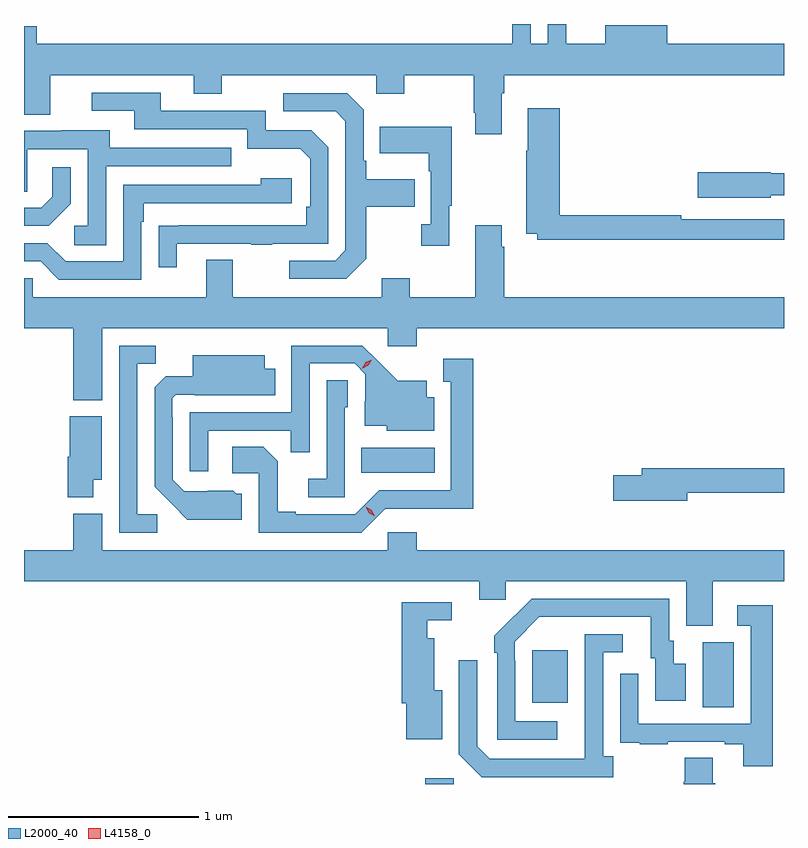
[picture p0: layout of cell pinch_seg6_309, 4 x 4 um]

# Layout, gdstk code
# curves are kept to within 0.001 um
import gdstk
lib = gdstk.Library(unit=1e-6, precision=1e-09)
def R(c, l, rs):  # rectangles x0, y0, x1, y1
    for r in rs: c.add(gdstk.rectangle(r[:2], r[2:], *l))
def P(c, l, *ps):  # polygons
    for p in ps: c.add(gdstk.Polygon(p, *l))
L2000_40 = (2000, 40)
L4158_0 = (4158, 0)

pinch_seg6_309 = lib.new_cell('pinch_seg6_309')
R(pinch_seg6_309, L2000_40, [(640.979,962.253,641.13,962.284), (642.44,962.656,642.604,963), (641.543,962.681,641.731,962.956), (640.642,963.89,641.029,964.024)])
P(pinch_seg6_309, L2000_40, [(641.383,965.888),(641.396,965.888),(641.396,965.984),(642.868,965.984),(642.868,966.148),(642.253,966.148),(642.253,966.247),(641.927,966.247),(641.927,966.148),(641.723,966.148),(641.723,966.253),(641.625,966.253),(641.625,966.148),(641.535,966.148),(641.535,966.253),(641.438,966.253),(641.438,966.148),(638.936,966.148),(638.936,966.241),(638.868,966.241),(638.868,965.776),(639.007,965.776),(639.007,965.984),(639.761,965.984),(639.761,965.885),(639.909,965.885),(639.909,965.984),(640.722,965.984),(640.722,965.885),(640.869,965.885),(640.869,965.984),(641.236,965.984),(641.236,965.785),(641.243,965.785),(641.243,965.673),(641.383,965.673)],
  [(639.673,965.097),(640.063,965.097),(640.063,965.092),(640.175,965.092),(640.175,965.097),(640.47,965.097),(640.47,965.604),(640.38,965.694),(640.14,965.694),(640.14,965.796),(639.589,965.796),(639.589,965.892),(639.225,965.892),(639.225,965.796),(639.449,965.796),(639.449,965.7),(640.044,965.7),(640.044,965.597),(640.321,965.597),(640.374,965.544),(640.374,965.29),(640.354,965.29),(640.354,965.193),(639.577,965.192),(639.577,964.974),(639.673,964.974)],
  [(640.669,965.017),(640.669,965.29),(640.925,965.29),(640.925,965.437),(640.669,965.437),(640.669,965.533),(640.656,965.533),(640.656,965.802),(640.569,965.889),(640.233,965.889),(640.233,965.793),(640.509,965.793),(640.56,965.742),(640.56,965.061),(640.506,965.007),(640.263,965.007),(640.263,964.911),(640.563,964.911)],
  [(642.868,965.226),(642.326,965.226),(642.326,965.246),(641.687,965.246),(641.687,965.809),(641.519,965.809),(641.519,965.585),(641.512,965.585),(641.512,965.15),(641.568,965.15),(641.568,965.118),(642.868,965.118)],
  [(641.107,965.297),(641.119,965.297),(641.119,965.713),(640.741,965.713),(640.741,965.573),(640.998,965.573),(640.998,965.477),(641.01,965.477),(641.01,965.198),(640.959,965.198),(640.959,965.085),(641.107,965.085)],
  [(639.3,965.505),(639.959,965.505),(639.959,965.601),(639.319,965.601),(639.319,965.695),(639.065,965.695),(639.065,965.691),(638.868,965.691),(638.868,965.371),(638.886,965.371),(638.886,965.595),(639.204,965.595),(639.204,965.19),(639.132,965.19),(639.132,965.089),(639.3,965.089)],
  [(639.114,965.306),(639.114,965.5),(639.017,965.5),(639.017,965.343),(638.96,965.286),(638.868,965.286),(638.868,965.19),(638.998,965.19)],
  [(642.798,965.352),(642.868,965.352),(642.868,965.468),(642.798,965.468),(642.798,965.474),(642.414,965.474),(642.414,965.339),(642.798,965.339)],
  [(639.486,965.213),(639.499,965.213),(639.499,965.31),(640.276,965.31),(640.276,965.44),(640.115,965.44),(640.115,965.406),(639.39,965.406),(639.39,965.004),(639.087,965.004),(638.991,965.1),(638.868,965.1),(638.868,965.004),(638.955,965.004),(639.051,964.908),(639.486,964.908)],
  [(639.28,964.652),(640.782,964.652),(640.782,964.557),(640.934,964.557),(640.934,964.652),(642.868,964.652),(642.868,964.816),(641.396,964.816),(641.396,965.081),(641.383,965.081),(641.383,965.194),(641.243,965.194),(641.243,964.816),(640.899,964.816),(640.899,964.915),(640.751,964.915),(640.751,964.816),(639.967,964.816),(639.967,965.011),(639.827,965.011),(639.827,964.816),(638.913,964.816),(638.913,964.914),(638.868,964.914),(638.868,964.652),(639.128,964.652),(639.128,964.274),(639.28,964.274)],
  [(639.837,964.113),(640.273,964.113),(640.273,964),(640.371,964),(640.371,964.467),(640.608,964.467),(640.665,964.41),(640.665,964.268),(640.661,964.268),(640.661,964.139),(640.776,964.139),(640.776,964.112),(641.026,964.112),(641.026,964.288),(640.987,964.288),(640.987,964.375),(640.835,964.375),(640.648,964.56),(640.275,964.56),(640.275,964.209),(639.741,964.209),(639.741,963.9),(639.837,963.9)],
  [(639.568,963.672),(639.465,963.672),(639.465,964.465),(639.561,964.465),(639.561,964.56),(639.369,964.56),(639.369,963.576),(639.568,963.576)],
  [(640.015,963.78),(639.984,963.78),(639.968,963.796),(639.711,963.795),(639.651,963.855),(639.651,964.184),(639.648,964.184),(639.648,964.284),(639.666,964.302),(639.766,964.302),(639.766,964.298),(640.19,964.298),(640.19,964.438),(640.135,964.438),(640.135,964.51),(639.755,964.51),(639.755,964.399),(639.614,964.399),(639.555,964.34),(639.555,963.818),(639.727,963.644),(640.015,963.644)],
  [(640.77,963.702),(641.233,963.701),(641.233,964.492),(641.075,964.492),(641.075,964.371),(641.114,964.371),(641.114,963.798),(640.737,963.798),(640.611,963.672),(640.297,963.672),(640.297,963.685),(640.203,963.685),(640.203,963.952),(640.127,964.028),(639.963,964.028),(639.963,963.888),(640.104,963.888),(640.104,963.576),(640.644,963.576)],
  [(640.557,964.236),(640.572,964.236),(640.572,964.379),(640.461,964.379),(640.461,963.859),(640.365,963.859),(640.365,963.762),(640.557,963.762)],
  [(639.232,963.854),(639.277,963.854),(639.277,964.189),(639.11,964.189),(639.11,963.975),(639.098,963.975),(639.098,963.761),(639.232,963.761)],
  [(642.358,963.786),(642.868,963.786),(642.868,963.914),(642.119,963.914),(642.119,963.878),(641.97,963.878),(641.97,963.743),(642.358,963.743)],
  [(642.493,963.32),(642.868,963.32),(642.868,963.484),(640.934,963.484),(640.934,963.577),(640.782,963.577),(640.782,963.484),(639.28,963.484),(639.28,963.676),(639.128,963.676),(639.128,963.484),(638.868,963.484),(638.868,963.32),(641.264,963.32),(641.264,963.222),(641.403,963.222),(641.403,963.32),(642.353,963.32),(642.353,963.085),(642.493,963.085)],
  [(641.674,962.583),(641.454,962.583),(641.454,962.903),(641.451,962.903),(641.451,963.003),(641.58,963.132),(642.167,963.132),(642.167,962.916),(642.191,962.916),(642.191,962.691),(642.352,962.691),(642.352,962.887),(642.289,962.887),(642.289,963.006),(642.264,963.006),(642.264,963.228),(641.54,963.228),(641.343,963.033),(641.343,962.945),(641.358,962.945),(641.358,962.487),(641.674,962.487)],
  [(641.068,962.746),(641.026,962.746),(641.026,963.019),(640.99,963.019),(640.99,963.114),(641.119,963.114),(641.119,963.21),(640.856,963.21),(640.856,962.679),(640.88,962.679),(640.88,962.489),(641.068,962.489)],
  [(642.809,963.193),(642.621,963.193),(642.621,963.087),(642.693,963.087),(642.693,962.571),(642.102,962.571),(642.102,962.833),(642.006,962.833),(642.006,962.578),(642.007,962.578),(642.007,962.469),(642.109,962.469),(642.109,962.463),(642.257,962.463),(642.257,962.475),(642.557,962.475),(642.557,962.463),(642.653,962.463),(642.653,962.346),(642.809,962.346)],
  [(641.968,962.398),(641.916,962.398),(641.916,962.946),(642.019,962.946),(642.019,963.042),(641.82,963.042),(641.819,962.385),(641.319,962.385),(641.253,962.451),(641.253,962.905),(641.157,962.905),(641.157,962.409),(641.278,962.288),(641.968,962.288)],
  [(642.506,962.258),(642.493,962.258),(642.493,962.39),(642.346,962.39),(642.346,962.265),(642.341,962.265),(642.341,962.253),(642.506,962.253)])
P(pinch_seg6_309, L4158_0, [(640.715,963.662),(640.683,963.681),(640.666,963.713),(640.666,963.713),(640.666,963.713),(640.698,963.694),(640.715,963.662),(640.715,963.662)],
  [(640.649,964.442),(640.649,964.442),(640.667,964.472),(640.698,964.486),(640.698,964.486),(640.698,964.486),(640.681,964.457),(640.65,964.442)])

lib.write_gds('pinch_seg6_309.gds')
